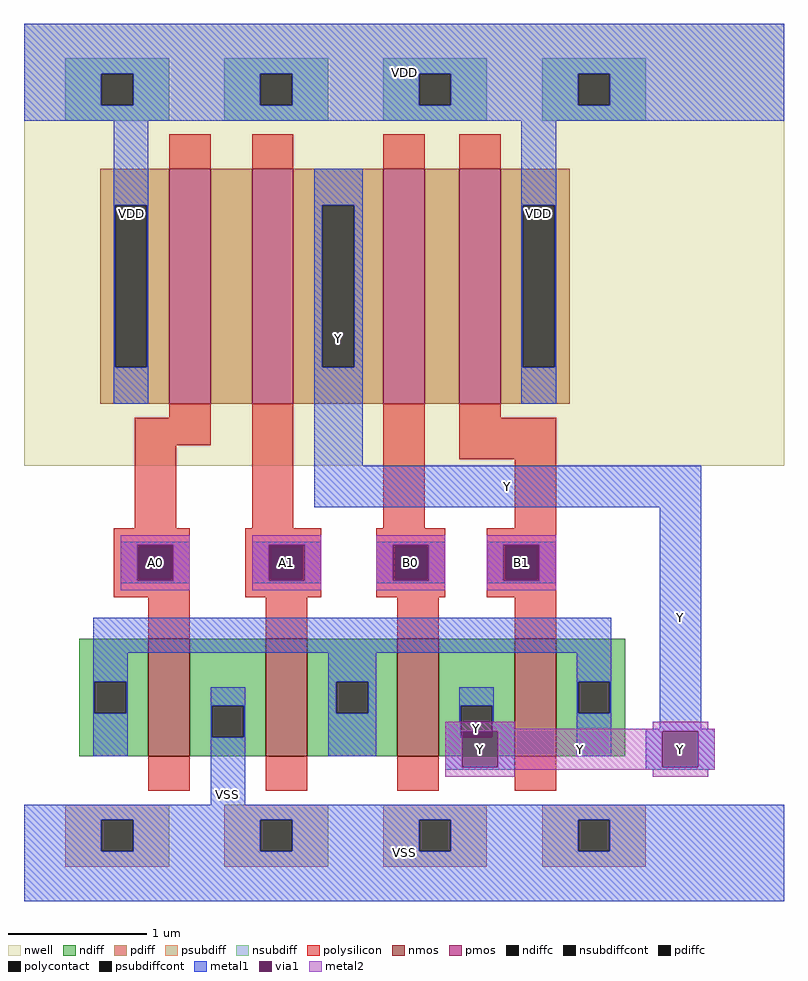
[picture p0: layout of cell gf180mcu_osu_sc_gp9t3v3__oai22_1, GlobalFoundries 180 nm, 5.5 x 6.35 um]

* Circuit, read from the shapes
.subckt gf180mcu_osu_sc_gp9t3v3__oai22_1 A1 A0 B1 B0 Y VDD VSS
XM1 VSS A0 n1 VSS nfet_03v3 w=0.85u l=0.3u
XM2 n1 A1 VSS VSS nfet_03v3 w=0.85u l=0.3u
XM3 Y B0 n1 VSS nfet_03v3 w=0.85u l=0.3u
XM4 n1 B1 Y VSS nfet_03v3 w=0.85u l=0.3u
XM5 n2 A0 VDD VDD pfet_03v3 w=1.7u l=0.3u
XM6 Y A1 n2 VDD pfet_03v3 w=1.7u l=0.3u
XM7 n3 B0 Y VDD pfet_03v3 w=1.7u l=0.3u
XM8 VDD B1 n3 VDD pfet_03v3 w=1.7u l=0.3u
.ends

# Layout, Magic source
magic
tech gf180mcuA
magscale 1 10
<< nwell >>
rect 0 630 1100 1270
<< nmos >>
rect 180 210 240 380
rect 350 210 410 380
rect 540 210 600 380
rect 710 210 770 380
<< pmos >>
rect 210 720 270 1060
rect 330 720 390 1060
rect 520 720 580 1060
rect 630 720 690 1060
<< ndiff >>
rect 80 318 180 380
rect 80 272 102 318
rect 148 272 180 318
rect 80 210 180 272
rect 240 283 350 380
rect 240 237 272 283
rect 318 237 350 283
rect 240 210 350 237
rect 410 318 540 380
rect 410 272 452 318
rect 498 272 540 318
rect 410 210 540 272
rect 600 283 710 380
rect 600 237 632 283
rect 678 237 710 283
rect 600 210 710 237
rect 770 318 870 380
rect 770 272 802 318
rect 848 272 870 318
rect 770 210 870 272
<< pdiff >>
rect 110 1007 210 1060
rect 110 773 132 1007
rect 178 773 210 1007
rect 110 720 210 773
rect 270 720 330 1060
rect 390 1007 520 1060
rect 390 773 432 1007
rect 478 773 520 1007
rect 390 720 520 773
rect 580 720 630 1060
rect 690 1007 790 1060
rect 690 773 722 1007
rect 768 773 790 1007
rect 690 720 790 773
<< ndiffc >>
rect 102 272 148 318
rect 272 237 318 283
rect 452 272 498 318
rect 632 237 678 283
rect 802 272 848 318
<< pdiffc >>
rect 132 773 178 1007
rect 432 773 478 1007
rect 722 773 768 1007
<< psubdiff >>
rect 60 118 210 140
rect 60 72 112 118
rect 158 72 210 118
rect 60 50 210 72
rect 290 118 440 140
rect 290 72 342 118
rect 388 72 440 118
rect 290 50 440 72
rect 520 118 670 140
rect 520 72 572 118
rect 618 72 670 118
rect 520 50 670 72
rect 750 118 900 140
rect 750 72 802 118
rect 848 72 900 118
rect 750 50 900 72
<< nsubdiff >>
rect 60 1198 210 1220
rect 60 1152 112 1198
rect 158 1152 210 1198
rect 60 1130 210 1152
rect 290 1198 440 1220
rect 290 1152 342 1198
rect 388 1152 440 1198
rect 290 1130 440 1152
rect 520 1198 670 1220
rect 520 1152 572 1198
rect 618 1152 670 1198
rect 520 1130 670 1152
rect 750 1198 900 1220
rect 750 1152 802 1198
rect 848 1152 900 1198
rect 750 1130 900 1152
<< psubdiffcont >>
rect 112 72 158 118
rect 342 72 388 118
rect 572 72 618 118
rect 802 72 848 118
<< nsubdiffcont >>
rect 112 1152 158 1198
rect 342 1152 388 1198
rect 572 1152 618 1198
rect 802 1152 848 1198
<< polysilicon >>
rect 210 1060 270 1110
rect 330 1060 390 1110
rect 520 1060 580 1110
rect 630 1060 690 1110
rect 210 700 270 720
rect 160 660 270 700
rect 160 540 220 660
rect 330 540 390 720
rect 520 540 580 720
rect 630 700 690 720
rect 630 640 770 700
rect 710 540 770 640
rect 130 513 240 540
rect 130 467 167 513
rect 213 467 240 513
rect 130 440 240 467
rect 320 513 430 540
rect 320 467 357 513
rect 403 467 430 513
rect 320 440 430 467
rect 510 513 610 540
rect 510 467 537 513
rect 583 467 610 513
rect 510 440 610 467
rect 670 513 770 540
rect 670 467 697 513
rect 743 467 770 513
rect 670 440 770 467
rect 180 380 240 440
rect 350 380 410 440
rect 540 380 600 440
rect 710 380 770 440
rect 180 160 240 210
rect 350 160 410 210
rect 540 160 600 210
rect 710 160 770 210
<< polycontact >>
rect 167 467 213 513
rect 357 467 403 513
rect 537 467 583 513
rect 697 467 743 513
<< metal1 >>
rect 0 1198 1100 1270
rect 0 1152 112 1198
rect 158 1152 342 1198
rect 388 1152 572 1198
rect 618 1152 802 1198
rect 848 1152 1100 1198
rect 0 1130 1100 1152
rect 130 1007 180 1130
rect 130 773 132 1007
rect 178 773 180 1007
rect 130 720 180 773
rect 420 1007 490 1060
rect 420 773 432 1007
rect 478 773 490 1007
rect 420 630 490 773
rect 720 1007 770 1130
rect 720 773 722 1007
rect 768 773 770 1007
rect 720 720 770 773
rect 420 570 980 630
rect 140 516 240 520
rect 140 464 164 516
rect 216 464 240 516
rect 140 460 240 464
rect 330 516 430 520
rect 330 464 354 516
rect 406 464 430 516
rect 330 460 430 464
rect 510 516 610 520
rect 510 464 534 516
rect 586 464 610 516
rect 510 460 610 464
rect 670 516 770 520
rect 670 464 694 516
rect 746 464 770 516
rect 670 460 770 464
rect 100 360 850 410
rect 100 318 150 360
rect 100 272 102 318
rect 148 272 150 318
rect 440 318 510 360
rect 100 210 150 272
rect 270 283 320 310
rect 270 237 272 283
rect 318 237 320 283
rect 270 140 320 237
rect 440 272 452 318
rect 498 272 510 318
rect 800 318 850 360
rect 440 210 510 272
rect 630 283 680 310
rect 630 260 632 283
rect 610 237 632 260
rect 678 260 680 283
rect 800 272 802 318
rect 848 272 850 318
rect 678 246 710 260
rect 610 194 634 237
rect 686 194 710 246
rect 800 210 850 272
rect 920 250 980 570
rect 900 246 1000 250
rect 610 190 710 194
rect 900 194 924 246
rect 976 194 1000 246
rect 900 190 1000 194
rect 0 118 1100 140
rect 0 72 112 118
rect 158 72 342 118
rect 388 72 572 118
rect 618 72 802 118
rect 848 72 1100 118
rect 0 0 1100 72
<< via1 >>
rect 164 513 216 516
rect 164 467 167 513
rect 167 467 213 513
rect 213 467 216 513
rect 164 464 216 467
rect 354 513 406 516
rect 354 467 357 513
rect 357 467 403 513
rect 403 467 406 513
rect 354 464 406 467
rect 534 513 586 516
rect 534 467 537 513
rect 537 467 583 513
rect 583 467 586 513
rect 534 464 586 467
rect 694 513 746 516
rect 694 467 697 513
rect 697 467 743 513
rect 743 467 746 513
rect 694 464 746 467
rect 634 237 678 246
rect 678 237 686 246
rect 634 194 686 237
rect 924 194 976 246
<< metal2 >>
rect 140 516 240 530
rect 140 464 164 516
rect 216 464 240 516
rect 140 450 240 464
rect 330 516 430 530
rect 330 464 354 516
rect 406 464 430 516
rect 330 450 430 464
rect 510 516 610 530
rect 510 464 534 516
rect 586 464 610 516
rect 510 450 610 464
rect 670 516 770 530
rect 670 464 694 516
rect 746 464 770 516
rect 670 450 770 464
rect 610 250 710 260
rect 910 250 990 260
rect 610 246 1000 250
rect 610 194 634 246
rect 686 194 924 246
rect 976 194 1000 246
rect 610 190 1000 194
rect 610 180 710 190
rect 910 180 990 190
<< labels >>
rlabel via1 s 354 464 406 516 4 A1
port 1 nsew signal input
rlabel via1 s 164 464 216 516 4 A0
port 2 nsew signal input
rlabel via1 s 694 464 746 516 4 B1
port 3 nsew signal input
rlabel via1 s 534 464 586 516 4 B0
port 4 nsew signal input
rlabel via1 s 924 194 976 246 4 Y
port 5 nsew signal output
rlabel metal1 s 130 720 180 1270 4 VDD
port 6 nsew power bidirectional abutment
rlabel metal1 s 270 0 320 310 4 VSS
port 7 nsew ground bidirectional abutment
rlabel metal1 s 720 720 770 1270 1 VDD
port 6 nsew power bidirectional abutment
rlabel metal1 s 0 1130 1100 1270 1 VDD
port 6 nsew power bidirectional abutment
rlabel metal1 s 0 0 1100 140 1 VSS
port 7 nsew ground bidirectional abutment
rlabel metal2 s 140 450 240 530 1 A0
port 2 nsew signal input
rlabel metal1 s 140 460 240 520 1 A0
port 2 nsew signal input
rlabel metal2 s 330 450 430 530 1 A1
port 1 nsew signal input
rlabel metal1 s 330 460 430 520 1 A1
port 1 nsew signal input
rlabel metal2 s 510 450 610 530 1 B0
port 4 nsew signal input
rlabel metal1 s 510 460 610 520 1 B0
port 4 nsew signal input
rlabel metal2 s 670 450 770 530 1 B1
port 3 nsew signal input
rlabel metal1 s 670 460 770 520 1 B1
port 3 nsew signal input
rlabel via1 s 634 194 686 246 1 Y
port 5 nsew signal output
rlabel metal2 s 610 180 710 260 1 Y
port 5 nsew signal output
rlabel metal2 s 910 180 990 260 1 Y
port 5 nsew signal output
rlabel metal2 s 610 190 1000 250 1 Y
port 5 nsew signal output
rlabel metal1 s 630 190 680 310 1 Y
port 5 nsew signal output
rlabel metal1 s 610 190 710 260 1 Y
port 5 nsew signal output
rlabel metal1 s 420 570 490 1060 1 Y
port 5 nsew signal output
rlabel metal1 s 920 190 980 630 1 Y
port 5 nsew signal output
rlabel metal1 s 420 570 980 630 1 Y
port 5 nsew signal output
rlabel metal1 s 900 190 1000 250 1 Y
port 5 nsew signal output
<< properties >>
string FIXED_BBOX 0 0 1100 1270
string GDS_END 348700
string GDS_FILE $PDKPATH/libs.ref/gf180mcu_osu_sc_gp9t3v3/gds/gf180mcu_osu_sc_gp9t3v3.gds
string GDS_START 342346
string LEFclass CORE
string LEFsite gf180mcu_osu_sc_gp9t3v3
string LEFsymmetry X Y
<< end >>
